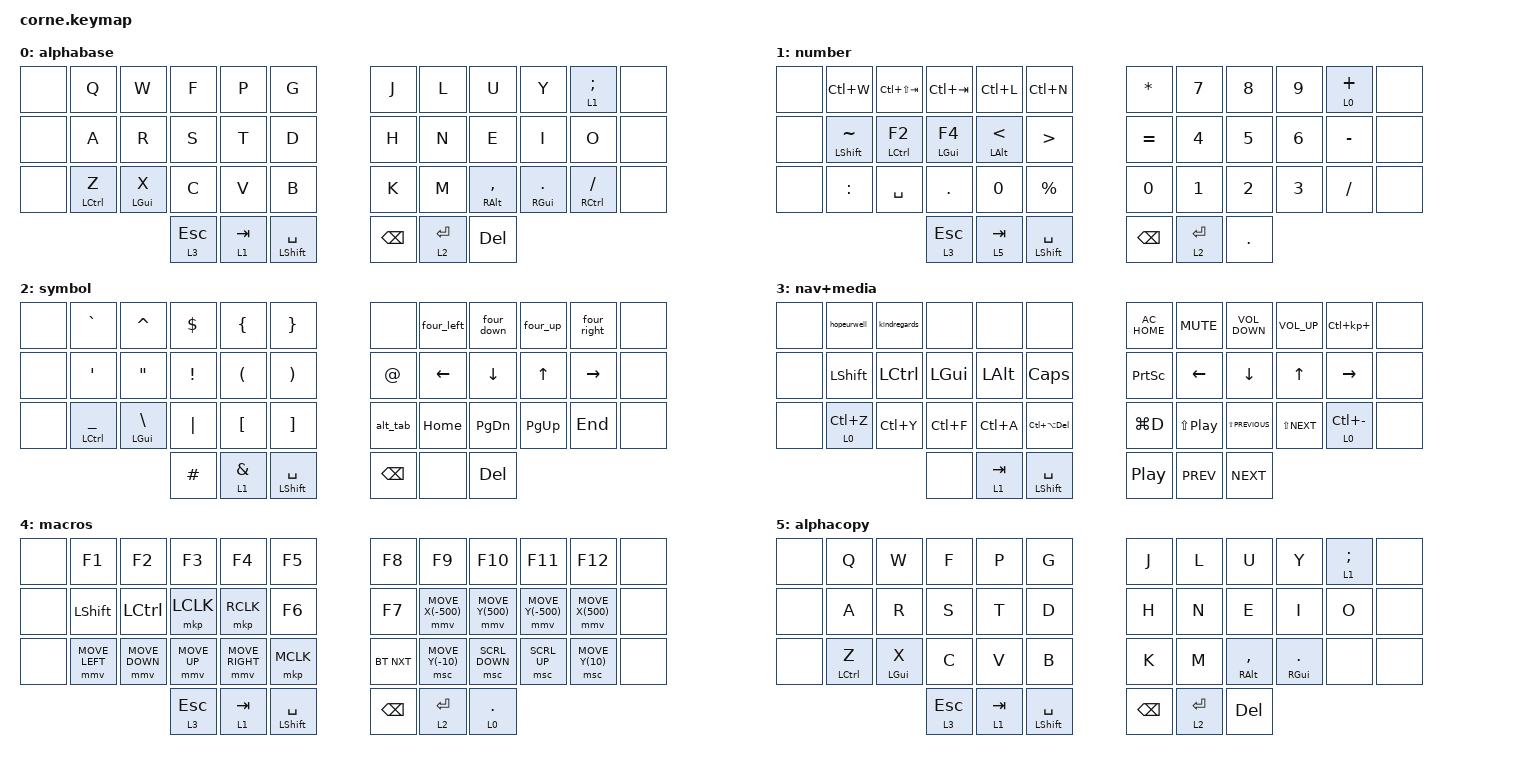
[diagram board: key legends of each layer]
/*
 * Copyright (c) 2020 The ZMK Contributors
 *
 * SPDX-License-Identifier: MIT
 */

#define ZMK_POINTING_DEFAULT_MOVE_VAL 2400
#define ZMK_POINTING_DEFAULT_SCRL_VAL 40

#include <behaviors.dtsi>
#include <dt-bindings/zmk/bt.h>
#include <dt-bindings/zmk/keys.h>
#include <dt-bindings/zmk/pointing.h>

/ {
    behaviors {
        numberlay: numberlay {
            compatible = "zmk,behavior-hold-tap";
            label = "NUMBERLAY";
            bindings = <&mo>, <&kp>;

            #binding-cells = <2>;
            flavor = "hold-preferred";
            tapping-term-ms = <300>;
            hold-while-undecided;
        };

        symbollay: symbollay {
            compatible = "zmk,behavior-hold-tap";
            label = "SYMBOLLAY";
            bindings = <&mo>, <&kp>;

            #binding-cells = <2>;
            flavor = "hold-preferred";
            tapping-term-ms = <300>;
            hold-while-undecided;
        };

        spaceshift: spaceshift {
            compatible = "zmk,behavior-hold-tap";
            label = "SPACESHIFT";
            bindings = <&kp>, <&kp>;

            #binding-cells = <2>;
            flavor = "hold-preferred";
            tapping-term-ms = <160>;
            hold-trigger-key-positions = <1 2 3 4 5 13 14 15 16 17 25 26 27 28 29 36 37 6 7 8 9 10 18 19 20 21 22 30 31 32 33 34 40 41 39>;
        };

        tap_or_num: tap_or_num {
            compatible = "zmk,behavior-hold-tap";
            label = "TAP_OR_NUM";
            bindings = <&to>, <&kp>;

            #binding-cells = <2>;
            tapping-term-ms = <200>;
            flavor = "tap-preferred";
        };

        ctrl_left: ctrl_left {
            compatible = "zmk,behavior-hold-tap";
            label = "CTRL_LEFT";
            bindings = <&kp>, <&kp>;

            #binding-cells = <2>;
            flavor = "balanced";
            tapping-term-ms = <180>;
            hold-trigger-key-positions = <1 2 3 4 5 6 7 8 9 10 14 15 16 17 18 19 20 21 22 25 26 27 28 29 30 31 32 33 34 36 37 38 39 40 41 13>;
        };

        alt_right: alt_right {
            compatible = "zmk,behavior-hold-tap";
            label = "ALT_RIGHT";
            bindings = <&kp>, <&kp>;

            #binding-cells = <2>;
            flavor = "tap-preferred";
            tapping-term-ms = <180>;
            hold-trigger-key-positions = <1 2 3 4 5 13 14 15 16 17 25 26 27 28 29 8 9 10 20 21 22 32 33 34 31 30 18 6 7 19>;
        };

        gui_right: gui_right {
            compatible = "zmk,behavior-hold-tap";
            label = "GUI_RIGHT";
            bindings = <&kp>, <&kp>;

            #binding-cells = <2>;
            flavor = "tap-preferred";
            tapping-term-ms = <180>;
            hold-trigger-key-positions = <1 2 3 4 5 13 14 15 16 17 25 26 27 28 29 8 9 10 20 21 22 32 33 34 31 19 7 6 18 30>;
        };

        tap_or_base: tap_or_base {
            compatible = "zmk,behavior-hold-tap";
            label = "TAP_OR_BASE";
            bindings = <&to>, <&kp>;

            #binding-cells = <2>;
            tapping-term-ms = <200>;
            flavor = "tap-preferred";
        };

        baselay: baselay {
            compatible = "zmk,behavior-hold-tap";
            label = "BASELAY";
            bindings = <&mo>, <&kp>;

            #binding-cells = <2>;
            flavor = "hold-preferred";
            tapping-term-ms = <300>;
        };

        layer_hrm: layer_hrm {
            compatible = "zmk,behavior-hold-tap";
            label = "LAYER_HRM";
            bindings = <&kp>, <&kp>;

            #binding-cells = <2>;
            flavor = "balanced";
            tapping-term-ms = <180>;
            require-prior-idle-ms = <400>;
        };

        gui_left: gui_left {
            compatible = "zmk,behavior-hold-tap";
            label = "GUI_LEFT";
            bindings = <&kp>, <&kp>;

            #binding-cells = <2>;
            flavor = "balanced";
            tapping-term-ms = <180>;
        };

        ctrl_right: ctrl_right {
            compatible = "zmk,behavior-hold-tap";
            label = "CTRL_RIGHT";
            bindings = <&kp>, <&kp>;

            #binding-cells = <2>;
            flavor = "tap-preferred";
            tapping-term-ms = <180>;
        };
    };

    combos { compatible = "zmk,combos"; };

    macros {
        hopeurwell: hopeurwell {
            compatible = "zmk,behavior-macro";
            #binding-cells = <0>;
            bindings = <&kp LS(H) &kp O &kp P &kp E &kp SPACE &kp T &kp H &kp I &kp N &kp G &kp S &kp SPACE &kp A &kp R &kp E &kp SPACE &kp W &kp E &kp L &kp L &kp DOT>;
            label = "HOPEURWELL";
        };

        kindregards: kingregards {
            compatible = "zmk,behavior-macro";
            #binding-cells = <0>;
            bindings = <&kp LS(K) &kp I &kp N &kp D &kp SPACE &kp LS(R) &kp E &kp G &kp A &kp R &kp D &kp S &kp COMMA &kp RET>;
            label = "KINGREGARDS";
        };

        spacethenshift: spacethenshift {
            compatible = "zmk,behavior-macro";
            #binding-cells = <0>;
            bindings = <&kp SPACE &sk LEFT_SHIFT>;
            label = "SPACETHENSHIFT";
        };

        four_down: four_down {
            compatible = "zmk,behavior-macro";
            #binding-cells = <0>;
            bindings = <&kp DOWN &kp DOWN &kp DOWN &kp DOWN>;
            label = "FOUR_DOWN";
        };

        four_left: four_left {
            compatible = "zmk,behavior-macro";
            #binding-cells = <0>;
            bindings = <&kp LEFT &kp LEFT &kp LEFT &kp LEFT>;
            label = "FOUR_LEFT";
        };

        four_right: four_right {
            compatible = "zmk,behavior-macro";
            #binding-cells = <0>;
            bindings = <&kp RIGHT &kp RIGHT &kp RIGHT &kp RIGHT>;
            label = "FOUR_RIGHT";
        };

        four_up: four_up {
            compatible = "zmk,behavior-macro";
            #binding-cells = <0>;
            bindings = <&kp UP &kp UP &kp UP &kp UP>;
            label = "FOUR_UP";
        };

        alt_tab: alt_tab {
            compatible = "zmk,behavior-macro";
            #binding-cells = <0>;
            bindings =
                <&macro_press>,
                <&kp LEFT_ALT>,
                <&macro_tap>,
                <&kp TAB>,
                <&macro_release>,
                <&kp LEFT_ALT>;

            label = "ALT_TAB";
        };
    };

    keymap {
        compatible = "zmk,keymap";

        alphabase {
            // -----------------------------------------------------------------------------------------
            // |  TAB |  Q  |  W  |  E  |  R  |  T  |   |  Y  |  U   |  I  |  O  |  P  | BKSP |
            // | CTRL |  A  |  S  |  D  |  F  |  G  |   |  H  |  J   |  K  |  L  |  ;  |  '   |
            // | SHFT |  Z  |  X  |  C  |  V  |  B  |   |  N  |  M   |  ,  |  .  |  /  | ESC  |
            //                    | GUI | LWR | SPC |   | ENT | RSE  | ALT |

            bindings = <
&none  &kp Q               &kp W             &kp F         &kp P             &kp G                           &kp J          &kp L             &kp U                  &kp Y                   &tap_or_num 1 SEMICOLON          &none
&none  &kp A               &kp R             &kp S         &kp T             &kp D                           &kp H          &kp N             &kp E                  &kp I                   &kp O                            &none
&none  &ctrl_left LCTRL Z  &gui_left LGUI X  &kp C         &kp V             &kp B                           &kp K          &kp M             &alt_right RALT COMMA  &gui_right RGUI PERIOD  &ctrl_right RIGHT_CONTROL SLASH  &none
                                             &lt 3 ESCAPE  &numberlay 1 TAB  &spaceshift LEFT_SHIFT SPACE    &kp BACKSPACE  &symbollay 2 RET  &kp DELETE
            >;
        };

        number {
            bindings = <
&none  &kp LC(W)                    &kp LC(LS(TAB))      &kp LC(TAB)         &kp LC(L)                  &kp LC(N)                       &kp ASTERISK   &kp N7              &kp N8      &kp N9  &tap_or_base 0 PLUS  &none
&none  &layer_hrm LEFT_SHIFT TILDE  &layer_hrm LCTRL F2  &layer_hrm LGUI F4  &layer_hrm LALT LESS_THAN  &kp GREATER_THAN                &kp EQUAL      &kp N4              &kp N5      &kp N6  &kp MINUS            &none
&none  &kp COLON                    &kp SPACE            &kp PERIOD          &kp N0                     &kp PERCENT                     &kp N0         &kp N1              &kp N2      &kp N3  &kp SLASH            &none
                                                         &lt 3 ESCAPE        &baselay 5 TAB             &spaceshift LEFT_SHIFT SPACE    &kp BACKSPACE  &symbollay 2 ENTER  &kp PERIOD
            >;
        };

        symbol {
            bindings = <
&none  &kp GRAVE               &kp CARET                &kp DLLR  &kp LEFT_BRACE          &kp RIGHT_BRACE                 &none          &four_left  &four_down  &four_up   &four_right  &none
&none  &kp SINGLE_QUOTE        &kp DOUBLE_QUOTES        &kp EXCL  &kp LEFT_PARENTHESIS    &kp RIGHT_PARENTHESIS           &kp AT         &kp LEFT    &kp DOWN    &kp UP     &kp RIGHT    &none
&none  &ctrl_left LCTRL UNDER  &gui_left LEFT_GUI BSLH  &kp PIPE  &kp LEFT_BRACKET        &kp RIGHT_BRACKET               &alt_tab       &kp HOME    &kp PG_DN   &kp PG_UP  &kp END      &none
                                                        &kp HASH  &numberlay 1 AMPERSAND  &spaceshift LEFT_SHIFT SPACE    &kp BACKSPACE  &none       &kp DELETE
            >;
        };

        nav+media {
            bindings = <
&none  &hopeurwell           &kindregards  &none      &none             &none                           &kp C_AC_HOME     &kp C_MUTE            &kp C_VOLUME_DOWN   &kp C_VOLUME_UP  &kp LC(KP_PLUS)           &none
&none  &kp LEFT_SHIFT        &kp LCTRL     &kp LGUI   &kp LALT          &kp CAPSLOCK                    &kp PRINTSCREEN   &kp LEFT              &kp DOWN            &kp UP           &kp RIGHT                 &none
&none  &tap_or_base 0 LC(Z)  &kp LC(Y)     &kp LC(F)  &kp LC(A)         &kp LC(LA(DELETE))              &kp LG(D)         &kp LS(C_PLAY_PAUSE)  &kp LS(C_PREVIOUS)  &kp LS(C_NEXT)   &tap_or_base 0 LC(MINUS)  &none
                                           &none      &numberlay 1 TAB  &spaceshift LEFT_SHIFT SPACE    &kp C_PLAY_PAUSE  &kp C_PREV            &kp C_NEXT
            >;
        };

        macros {
            bindings = <
&none  &kp F1          &kp F2          &kp F3        &kp F4            &kp F5                          &kp F8         &kp F9               &kp F10                &kp F11            &kp F12           &none
&none  &kp LEFT_SHIFT  &kp LCTRL       &mkp LCLK     &mkp RCLK         &kp F6                          &kp F7         &mmv MOVE_X(-500)    &mmv MOVE_Y(500)       &mmv MOVE_Y(-500)  &mmv MOVE_X(500)  &none
&none  &mmv MOVE_LEFT  &mmv MOVE_DOWN  &mmv MOVE_UP  &mmv MOVE_RIGHT   &mkp MCLK                       &bt BT_NXT     &msc MOVE_Y(-10)     &msc SCRL_DOWN         &msc SCRL_UP       &msc MOVE_Y(10)   &none
                                       &lt 3 ESC     &numberlay 1 TAB  &spaceshift LEFT_SHIFT SPACE    &kp BACKSPACE  &symbollay 2 RETURN  &tap_or_base 0 PERIOD
            >;
        };

        alphacopy {
            bindings = <
&none  &kp Q               &kp W             &kp F         &kp P             &kp G                           &kp J          &kp L             &kp U                  &kp Y                   &tap_or_num 1 SEMICOLON  &none
&none  &kp A               &kp R             &kp S         &kp T             &kp D                           &kp H          &kp N             &kp E                  &kp I                   &kp O                    &none
&none  &ctrl_left LCTRL Z  &gui_left LGUI X  &kp C         &kp V             &kp B                           &kp K          &kp M             &alt_right RALT COMMA  &gui_right RGUI PERIOD  &none                    &none
                                             &lt 3 ESCAPE  &numberlay 1 TAB  &spaceshift LEFT_SHIFT SPACE    &kp BACKSPACE  &symbollay 2 RET  &kp DELETE
            >;
        };
    };

    conditional_layers {
        compatible = "zmk,conditional-layers";

        System {
            if-layers = <1 2>;
            then-layer = <4>;
        };

        System2 {
            if-layers = <2 5>;
            then-layer = <4>;
        };
    };
};
